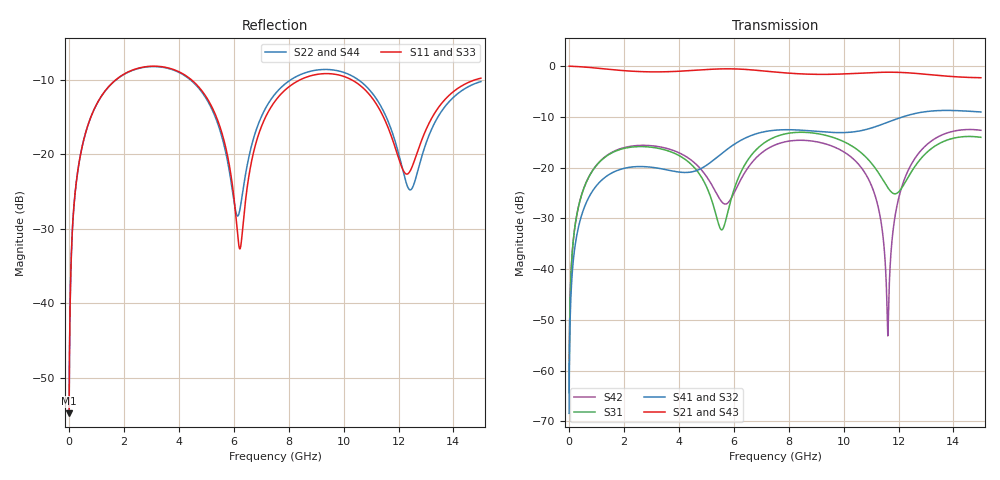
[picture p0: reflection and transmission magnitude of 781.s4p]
! Created with skrf 1.8.0 (http://scikit-rf.org).
# GHz S RI R 50.0
!freq ReS11 ImS11 ReS12 ImS12 ReS13 ImS13
! ReS14 ImS14
! ReS21 ImS21 ReS22 ImS22 ReS23 ImS23
! ReS24 ImS24
! ReS31 ImS31 ReS32 ImS32 ReS33 ImS33
! ReS34 ImS34
! ReS41 ImS41 ReS42 ImS42 ReS43 ImS43
! ReS44 ImS44
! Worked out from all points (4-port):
!   2499 points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, 5 MHz to 15 GHz, reference 50 ohm
!   strongest paths, dB at 5 MHz, 3.476 GHz, 7.19 GHz, 11.1 GHz, 15 GHz:
!     S21: 0.0, -1.1, -1.0, -1.3, -2.3
!     S43: 0.0, -1.1, -1.0, -1.3, -2.3
!     S41: -68.4, -20.3, -12.8, -12.0, -9.0
!     S32: -68.4, -20.5, -12.9, -12.1, -9.2
!     S31: -64.3, -16.5, -14.8, -19.7, -14.0
!     S42: -64.3, -16.1, -16.4, -24.7, -12.6
!   lowest |S11| = -54.8 dB at 5 MHz (marker M1), VSWR 1.00, Z = 50.1 + j0.11 ohm
!   |S11| at or under -10 dB: start of sweep to 1.696 GHz; 4.469 GHz to 8.4 GHz (3.931 GHz wide, 61.1 % of centre); 10.31 GHz to 14.77 GHz (4.457 GHz wide, 35.6 % of centre)
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0.005  0.00145 0.0011  0.9985 -0.00283  7.33e-05 0.000604  -7.11e-05 -0.000374
       0.9985 -0.00283  0.00145 0.0011  -7.11e-05 -0.000374  7.34e-05 0.000604
       7.33e-05 0.000604  -7.11e-05 -0.000374  0.00145 0.0011  0.9985 -0.00283
       -7.11e-05 -0.000374  7.34e-05 0.000604  0.9985 -0.00283  0.00145 0.0011
0.3126303  0.0197 0.0731  0.9733 -0.1768  0.00899 0.0364  -0.00764 -0.0224
           0.9733 -0.1768  0.0196 0.0731  -0.00762 -0.0224  0.00941 0.0363
           0.00899 0.0364  -0.00762 -0.0224  0.0197 0.0731  0.9733 -0.1768
           -0.00764 -0.0224  0.00941 0.0363  0.9733 -0.1768  0.0196 0.0731
1.569404  0.2368 0.1865  0.6185 -0.6852  0.1171 0.0771  -0.0872 -0.0174
          0.6185 -0.6852  0.235 0.1874  -0.0869 -0.0177  0.1233 0.0701
          0.1171 0.0771  -0.0869 -0.0177  0.237 0.1864  0.6184 -0.6853
          -0.0872 -0.0174  0.1233 0.0701  0.6184 -0.6853  0.2349 0.1875
6.246353  0.0236 0.00302  -0.933 -0.0296  0.0462 0.0756  0.00287 0.185
          -0.933 -0.0296  0.0407 0.0189  -0.00354 0.185  -0.0287 0.0697
          0.0462 0.0756  -0.00354 0.185  0.0229 0.00236  -0.933 -0.0298
          0.00287 0.185  -0.0287 0.0697  -0.933 -0.0298  0.042 0.0174
10.26678  0.3013 -0.1055  0.2574 0.8029  0.0876 -0.1405  0.1871 -0.1226
          0.2574 0.8029  0.311 -0.1374  0.1918 -0.1072  0.1021 -0.0766
          0.0876 -0.1405  0.1918 -0.1072  0.3002 -0.1118  0.2585 0.803
          0.1871 -0.1226  0.1021 -0.0766  0.2585 0.803  0.3091 -0.1323
11.61109  0.1138 -0.1024  0.7302 0.4748  -0.0502 -0.0388  0.1361 -0.2451
          0.7302 0.4748  0.1048 -0.1322  0.1545 -0.2337  -0.00218 -0.000329
          -0.0502 -0.0388  0.1545 -0.2337  0.1065 -0.1053  0.7314 0.4734
          0.1361 -0.2451  -0.00218 -0.000329  0.7314 0.4734  0.1088 -0.1279
15  0.3211 0.0527  0.3555 -0.6812  0.1972 -0.0257  -0.3459 -0.073
    0.3555 -0.6812  0.303 0.0599  -0.3325 -0.1006  0.2253 -0.061
    0.1972 -0.0257  -0.3325 -0.1006  0.3297 0.0512  0.353 -0.6818
    -0.3459 -0.073  0.2253 -0.061  0.353 -0.6818  0.2962 0.0621
